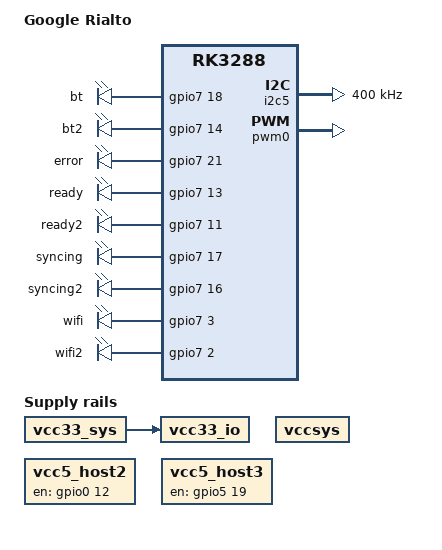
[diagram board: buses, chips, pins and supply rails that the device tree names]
/*
 * Google Veyron Rialto Rev3+ board device tree source
 *
 * Copyright 2018 Google, Inc
 *
 * This program is free software; you can redistribute it and/or modify
 * it under the terms of the GNU General Public License version 2 as
 * published by the Free Software Foundation.
 */

/dts-v1/;

/ {
	/*
	 * This block is a hack in order to avoid deferral for power supplies.
	 * See chrome-os-partner:37022
	 */

	vccsys {
	};
};

#include "rk3288-veyron.dtsi"

/ {
	model = "Google Rialto";
	compatible = "google,veyron-rialto-rev7", "google,veyron-rialto-rev8",
		     "google,veyron-rialto-rev6", "google,veyron-rialto-rev5",
		     "google,veyron-rialto-rev4", "google,veyron-rialto-rev3",
		     "google,veyron-rialto", "google,veyron", "rockchip,rk3288";

	gpio-keys {
		pinctrl-0 = <&bt_host_wake &pwr_key_l &push_key>;

		pushbutton {
			label = "PushButton";
			gpios = <&gpio7 9 GPIO_ACTIVE_LOW>;
			linux,code = <KEY_F1>;
			debounce-interval = <100>;
			gpio-key,wakeup;
		};
	};

	gpio-leds {
		compatible = "gpio-leds";
		pinctrl-names = "default";
		pinctrl-0 = <&bt &bt2
			     &error
			     &ready &ready2
			     &syncing &syncing2
			     &wifi &wifi2>;

		bt {
			gpios = <&gpio7 18 GPIO_ACTIVE_HIGH>;
			default-state = "on";
		};

		bt2 {
			gpios = <&gpio7 14 GPIO_ACTIVE_HIGH>;
			default-state = "on";
		};

		error {
			gpios = <&gpio7 21 GPIO_ACTIVE_HIGH>;
			default-state = "on";
		};

		ready {
			gpios = <&gpio7 13 GPIO_ACTIVE_HIGH>;
			default-state = "on";
		};

		ready2 {
			gpios = <&gpio7 11 GPIO_ACTIVE_HIGH>;
			default-state = "on";
		};

		syncing {
			gpios = <&gpio7 17 GPIO_ACTIVE_HIGH>;
			default-state = "on";
		};

		syncing2 {
			gpios = <&gpio7 16 GPIO_ACTIVE_HIGH>;
			default-state = "on";
		};

		wifi {
			gpios = <&gpio7 3 GPIO_ACTIVE_HIGH>;
			default-state = "on";
		};

		wifi2 {
			gpios = <&gpio7 2 GPIO_ACTIVE_HIGH>;
			default-state = "on";
		};
	};

	/* A non-regulated voltage from power supply or battery */
	vccsys: vccsys {
		compatible = "regulator-fixed";
		regulator-name = "vccsys";
		regulator-boot-on;
		regulator-always-on;
	};

	vcc33_sys: vcc33-sys {
		vin-supply = <&vccsys>;
	};

	vcc_5v: vcc-5v {
		vin-supply = <&vccsys>;
	};

	vcc33_io: vcc33-io {
		compatible = "regulator-fixed";
		regulator-name = "vcc33_io";
		regulator-always-on;
		regulator-boot-on;
		vin-supply = <&vcc33_sys>;
	};

	/delete-node/ vcc50-hdmi;

	/*
	 * Note, despite the schematic calling it host2,
	 * this is actually power for usb_otg (dwc otg)
	 */
	vcc5_host2: vcc5-host2-regulator {
		compatible = "regulator-fixed";
		enable-active-high;
		gpio = <&gpio0 12 GPIO_ACTIVE_HIGH>;
		pinctrl-names = "default";
		pinctrl-0 = <&vcc5_host2_pwr_en>;
		regulator-name = "vcc5_host2";
		regulator-always-on;
		regulator-boot-on;
	};

	/*
	 * Note, despite the schematic calling it host3,
	 * this is actually power usb_host1 (dwc non-otg)
	 */
	vcc5_host3: vcc5-host3-regulator {
		compatible = "regulator-fixed";
		enable-active-high;
		gpio = <&gpio5 19 GPIO_ACTIVE_HIGH>;
		pinctrl-names = "default";
		pinctrl-0 = <&vcc5_host3_pwr_en>;
		regulator-name = "vcc5_host3";
		regulator-always-on;
		regulator-boot-on;
	};

	io-domains {
		/delete-property/ lcdc-supply;
	};
};

&rk808 {
	pinctrl-names = "default";
	pinctrl-0 = <&pmic_int_l &dvs_1 &dvs_2>;
	dvs-gpios = <&gpio7 12 GPIO_ACTIVE_HIGH>,
		    <&gpio7 15 GPIO_ACTIVE_HIGH>;

	/delete-property/ vcc6-supply;
	vcc10-supply = <&vcc33_sys>;

	regulators {
		/* vcc33_io is sourced directly from vcc33_sys */
		/delete-node/ LDO_REG1;

		/* no vcc33_lcd */
		/delete-node/ SWITCH_REG1;

		vcc18_lcd: SWITCH_REG2 {
			regulator-always-on;
			regulator-boot-on;
			regulator-name = "vcc18_lcd";
			regulator-suspend-mem-disabled;
		};
	};
};

&hdmi {
	/* Free up the i2c5 pins. */
	/delete-property/ pinctrl-names;
	/delete-property/ pinctrl-0;
	/delete-property/ pinctrl-1;
};

&i2c2 {
	status = "disabled";
};

&i2c4 {
	status = "disabled";
};

&i2c5 {
	/* Temperature sensor */
	status = "okay";

	clock-frequency = <400000>;
	i2c-scl-falling-time-ns = <50>;
	i2c-scl-rising-time-ns = <300>;
};

&pwm0 {
	/* fan_ctrl0 */
	status = "okay";
};

&pinctrl {
	pinctrl-0 = <
		/* Common for sleep and wake, but no owners */
		&ddr0_retention
		&ddrio_pwroff
		&modem_on_off
		&modem_shutdown
		&global_pwroff
	>;
	pinctrl-1 = <
		/* Common for sleep and wake, but no owners */
		&ddr0_retention
		&ddrio_pwroff
		&modem_on_off
		&modem_shutdown
		&global_pwroff
	>;

	/delete-node/ bt_dev_wake_sleep;
	/delete-node/ bt_dev_wake_awake;

	buttons {
		push_key: push-key {
			rockchip,pins = <7 9 RK_FUNC_GPIO &pcfg_pull_up>;
		};
	};

	fan {
		/* fan_ctrl0 via pwm0 */

		fan_ctrl1: fan-ctrl1 {
			rockchip,pins = <7 7 RK_FUNC_GPIO &pcfg_output_low>;
		};
	};

	leds {
		bt: bt {
			rockchip,pins = <7 18 RK_FUNC_GPIO &pcfg_output_low>;
		};

		bt2: bt2 {
			rockchip,pins = <7 14 RK_FUNC_GPIO &pcfg_output_low>;
		};

		error: error {
			rockchip,pins = <7 21 RK_FUNC_GPIO &pcfg_output_low>;
		};

		ready: ready {
			rockchip,pins = <7 13 RK_FUNC_GPIO &pcfg_output_low>;
		};

		ready2: ready2 {
			rockchip,pins = <7 11 RK_FUNC_GPIO &pcfg_output_low>;
		};

		syncing: syncing {
			rockchip,pins = <7 17 RK_FUNC_GPIO &pcfg_output_low>;
		};

		syncing2: syncing2 {
			rockchip,pins = <7 16 RK_FUNC_GPIO &pcfg_output_low>;
		};

		wifi: wifi {
			rockchip,pins = <7 3 RK_FUNC_GPIO &pcfg_output_low>;
		};

		wifi2: wifi2 {
			rockchip,pins = <7 2 RK_FUNC_GPIO &pcfg_output_low>;
		};

	};

	modem {
		modem_on_off: modem-on-off-gpio {
			rockchip,pins = <4 26 RK_FUNC_GPIO &pcfg_output_low>;
		};

		modem_shutdown: modem-shutdown {
			rockchip,pins = <5 17 RK_FUNC_GPIO &pcfg_output_high>;
		};
	};

	pmic {
		dvs_1: dvs-1 {
			rockchip,pins = <7 12 RK_FUNC_GPIO &pcfg_pull_down>;
		};

		dvs_2: dvs-2 {
			rockchip,pins = <7 15 RK_FUNC_GPIO &pcfg_pull_down>;
		};
	};

	usb-host {
		vcc5_host2_pwr_en: vcc5-host2-pwr-en {
			rockchip,pins = <0 12 RK_FUNC_GPIO &pcfg_pull_up>;
		};

		vcc5_host3_pwr_en: vcc5-host3-pwr-en {
			rockchip,pins = <5 19 RK_FUNC_GPIO &pcfg_pull_up>;
		};
	};
};
